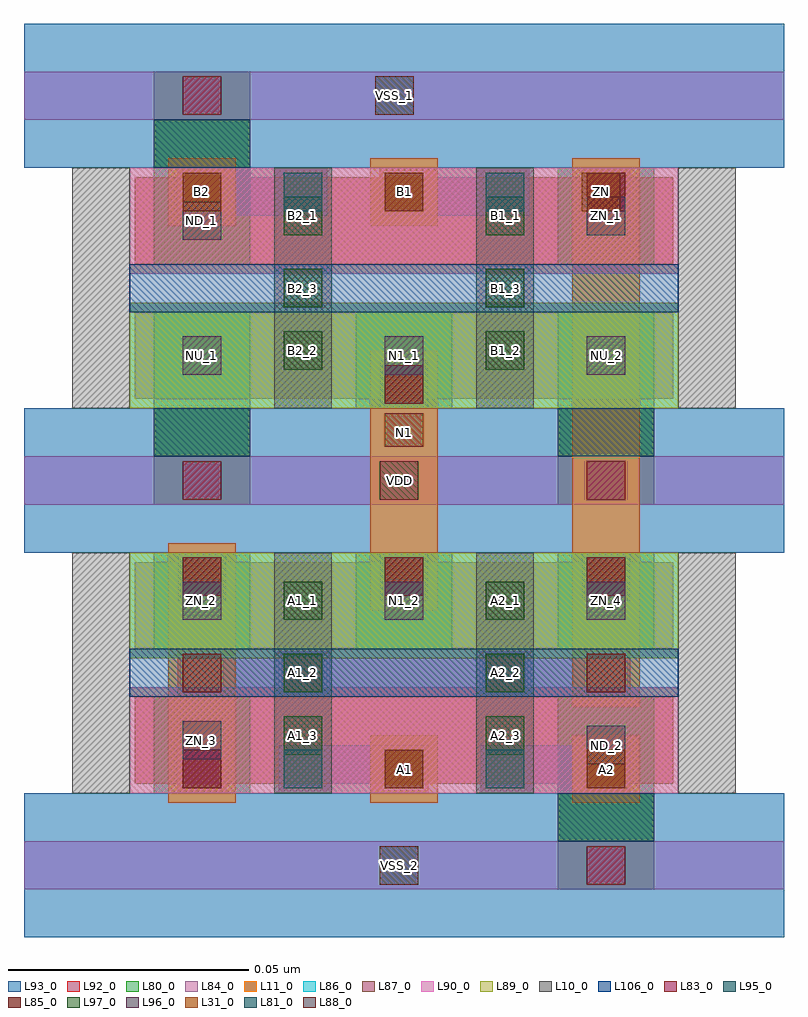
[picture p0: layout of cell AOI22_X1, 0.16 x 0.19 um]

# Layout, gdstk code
import gdstk
lib = gdstk.Library(unit=1e-6, precision=1e-09)
def R(c, l, rs):  # rectangles x0, y0, x1, y1
    for r in rs: c.add(gdstk.rectangle(r[:2], r[2:], *l))
def A(c, l, x, y, w, h, nx, ny, dx, dy):  # array of equal rectangles
    R(c, l, [(x+i*dx, y+j*dy, x+i*dx+w, y+j*dy+h) for i in range(nx) for j in range(ny)])
L10_0 = (10, 0)
L11_0 = (11, 0)
L31_0 = (31, 0)
L80_0 = (80, 0)
L81_0 = (81, 0)
L83_0 = (83, 0)
L84_0 = (84, 0)
L85_0 = (85, 0)
L86_0 = (86, 0)
L87_0 = (87, 0)
L88_0 = (88, 0)
L89_0 = (89, 0)
L90_0 = (90, 0)
L92_0 = (92, 0)
L93_0 = (93, 0)
L95_0 = (95, 0)
L96_0 = (96, 0)
L97_0 = (97, 0)
L106_0 = (106, 0)

aoi22_x1 = lib.new_cell('AOI22_X1')
A(aoi22_x1, L10_0, -0.027, -0.065, 0.012, 0.05, 4, 2, 0.042, 0.08)
A(aoi22_x1, L11_0, 0.077, -0.047, 0.014, 0.034, 1, 5, 0, 0.02)
R(aoi22_x1, L11_0, [(-0.007,-0.067,0.007,-0.033), (0.035,-0.067,0.049,-0.053), (0.077,-0.067,0.091,-0.053), (-0.007,-0.047,0.007,-0.013), (0.035,-0.027,0.049,0.007), (0.035,-0.007,0.049,0.027), (-0.007,0.053,0.007,0.067), (0.035,0.053,0.049,0.067)])
R(aoi22_x1, L31_0, [(0.038,-0.064,0.046,-0.056), (0.08,-0.064,0.088,-0.056), (0.038,0.007,0.046,0.014), (-0.004,0.056,0.004,0.064), (0.038,0.056,0.046,0.064), (0.079,0.056,0.087,0.064)])
A(aoi22_x1, L80_0, -0.01, 0.015, 0.02, 0.02, 3, 1, 0.042, 0)
R(aoi22_x1, L80_0, [(0.074,-0.085,0.094,-0.064), (-0.01,-0.065,0.01,-0.045), (0.074,-0.065,0.094,-0.045), (-0.01,-0.035,0.01,-0.015), (-0.01,-0.035,0.01,-0.015), (0.032,-0.035,0.052,-0.015), (0.032,-0.035,0.052,-0.015), (0.074,-0.035,0.094,-0.015), (0.074,-0.035,0.094,-0.015), (-0.01,-0.005,0.01,0.016), (0.074,-0.005,0.094,0.016), (-0.01,0.045,0.01,0.065), (-0.01,0.045,0.01,0.065), (0.074,0.045,0.094,0.065), (0.074,0.045,0.094,0.065), (-0.01,0.056,0.01,0.085)])
R(aoi22_x1, L81_0, [(0.017,-0.064,0.025,-0.056), (0.059,-0.064,0.067,-0.056), (0.017,0.056,0.025,0.064), (0.059,0.056,0.067,0.064)])
A(aoi22_x1, L83_0, -0.004, -0.024, 0.008, 0.008, 3, 1, 0.042, 0)
R(aoi22_x1, L83_0, [(0.08,-0.084,0.088,-0.076), (-0.004,-0.064,0.004,-0.056), (-0.004,-0.004,0.004,0.004), (0.08,-0.004,0.088,0.004), (0.038,0.016,0.046,0.024), (0.08,0.056,0.088,0.064), (0.08,0.056,0.088,0.064), (0.08,0.056,0.088,0.064), (0.08,0.056,0.088,0.064), (-0.004,0.076,0.004,0.084)])
A(aoi22_x1, L84_0, -0.037, -0.085, 0.158, 0.01, 1, 3, 0, 0.08)
A(aoi22_x1, L84_0, -0.005, -0.045, 0.031, 0.01, 4, 1, 0.021, 0)
A(aoi22_x1, L84_0, -0.005, -0.025, 0.01, 0.01, 3, 1, 0.042, 0)
R(aoi22_x1, L84_0, [(-0.005,-0.065,0.005,-0.055), (0.016,-0.065,0.047,-0.055), (0.058,-0.065,0.089,-0.055), (0.037,0.015,0.047,0.025), (-0.005,0.055,0.026,0.065), (0.037,0.055,0.068,0.065), (0.079,0.055,0.089,0.065)])
A(aoi22_x1, L85_0, -0.004, -0.064, 0.008, 0.008, 3, 2, 0.042, 0.04)
A(aoi22_x1, L85_0, -0.004, 0.056, 0.008, 0.008, 3, 1, 0.042, 0)
R(aoi22_x1, L85_0, [(-0.004,-0.044,0.004,-0.036), (0.08,-0.044,0.088,-0.036), (0.038,0.016,0.046,0.024)])
R(aoi22_x1, L86_0, [(-0.015,-0.037,0.099,-0.015), (-0.015,0.015,0.099,0.037)])
R(aoi22_x1, L87_0, [(-0.015,-0.065,0.099,-0.043), (-0.015,0.043,0.099,0.065)])
R(aoi22_x1, L88_0, [(0.037,-0.084,0.045,-0.076), (0.037,-0.004,0.045,0.004), (0.036,0.076,0.044,0.084)])
R(aoi22_x1, L89_0, [(-0.015,-0.037,0.099,-0.015), (-0.015,0.015,0.099,0.037)])
R(aoi22_x1, L90_0, [(-0.015,-0.065,0.099,-0.043), (-0.015,0.043,0.099,0.065)])
R(aoi22_x1, L92_0, [(-0.014,-0.063,0.098,-0.045), (-0.014,-0.035,0.098,-0.017), (-0.014,0.017,0.098,0.035), (-0.014,0.045,0.098,0.063)])
A(aoi22_x1, L93_0, -0.037, -0.095, 0.158, 0.03, 1, 3, 0, 0.08)
R(aoi22_x1, L95_0, [(0.074,-0.075,0.094,-0.065), (-0.01,0.005,0.01,0.015), (0.074,0.005,0.094,0.015), (-0.01,0.065,0.01,0.075)])
A(aoi22_x1, L96_0, -0.004, -0.029, 0.008, 0.008, 3, 2, 0.042, 0.051)
R(aoi22_x1, L96_0, [(0.08,-0.059,0.088,-0.051), (-0.004,-0.058,0.004,-0.05), (-0.004,0.05,0.004,0.058), (0.08,0.051,0.088,0.059)])
R(aoi22_x1, L97_0, [(0.017,-0.057,0.025,-0.049), (0.059,-0.057,0.067,-0.049), (0.017,-0.044,0.025,-0.036), (0.059,-0.044,0.067,-0.036), (0.017,-0.029,0.025,-0.021), (0.059,-0.029,0.067,-0.021), (0.017,0.023,0.025,0.031), (0.059,0.023,0.067,0.031), (0.017,0.036,0.025,0.044), (0.059,0.036,0.067,0.044), (0.017,0.051,0.025,0.059), (0.059,0.051,0.067,0.059)])
R(aoi22_x1, L106_0, [(-0.015,-0.045,0.099,-0.035), (-0.015,0.035,0.099,0.045)])
aoi22_x1.add(gdstk.Label('VDD', (0.041,0), layer=88, texttype=0))
aoi22_x1.add(gdstk.Label('VSS_2', (0.041,-0.08), layer=88, texttype=0))
aoi22_x1.add(gdstk.Label('VSS_1', (0.04,0.08), layer=88, texttype=0))
aoi22_x1.add(gdstk.Label('N1', (0.042,0.01), layer=31, texttype=0))
aoi22_x1.add(gdstk.Label('A2', (0.084,-0.06), layer=31, texttype=0))
aoi22_x1.add(gdstk.Label('A1', (0.042,-0.06), layer=31, texttype=0))
aoi22_x1.add(gdstk.Label('ZN', (0.083,0.06), layer=31, texttype=0))
aoi22_x1.add(gdstk.Label('B1', (0.042,0.06), layer=31, texttype=0))
aoi22_x1.add(gdstk.Label('B2', (0,0.06), layer=31, texttype=0))
aoi22_x1.add(gdstk.Label('ND_2', (0.084,-0.055), layer=96, texttype=0))
aoi22_x1.add(gdstk.Label('NU_2', (0.084,0.026), layer=96, texttype=0))
aoi22_x1.add(gdstk.Label('ZN_3', (0,-0.054), layer=96, texttype=0))
aoi22_x1.add(gdstk.Label('ZN_4', (0.084,-0.025), layer=96, texttype=0))
aoi22_x1.add(gdstk.Label('ZN_1', (0.084,0.055), layer=96, texttype=0))
aoi22_x1.add(gdstk.Label('ZN_2', (0,-0.025), layer=96, texttype=0))
aoi22_x1.add(gdstk.Label('N1_2', (0.042,-0.025), layer=96, texttype=0))
aoi22_x1.add(gdstk.Label('N1_1', (0.042,0.026), layer=96, texttype=0))
aoi22_x1.add(gdstk.Label('NU_1', (0,0.026), layer=96, texttype=0))
aoi22_x1.add(gdstk.Label('ND_1', (0,0.054), layer=96, texttype=0))
aoi22_x1.add(gdstk.Label('B2_2', (0.021,0.027), layer=97, texttype=0))
aoi22_x1.add(gdstk.Label('B2_1', (0.021,0.055), layer=97, texttype=0))
aoi22_x1.add(gdstk.Label('B1_1', (0.063,0.055), layer=97, texttype=0))
aoi22_x1.add(gdstk.Label('B2_3', (0.021,0.04), layer=97, texttype=0))
aoi22_x1.add(gdstk.Label('B1_3', (0.063,0.04), layer=97, texttype=0))
aoi22_x1.add(gdstk.Label('B1_2', (0.063,0.027), layer=97, texttype=0))
aoi22_x1.add(gdstk.Label('A2_3', (0.063,-0.053), layer=97, texttype=0))
aoi22_x1.add(gdstk.Label('A2_2', (0.063,-0.04), layer=97, texttype=0))
aoi22_x1.add(gdstk.Label('A2_1', (0.063,-0.025), layer=97, texttype=0))
aoi22_x1.add(gdstk.Label('A1_1', (0.021,-0.025), layer=97, texttype=0))
aoi22_x1.add(gdstk.Label('A1_2', (0.021,-0.04), layer=97, texttype=0))
aoi22_x1.add(gdstk.Label('A1_3', (0.021,-0.053), layer=97, texttype=0))

lib.write_gds('AOI22_X1.gds')
